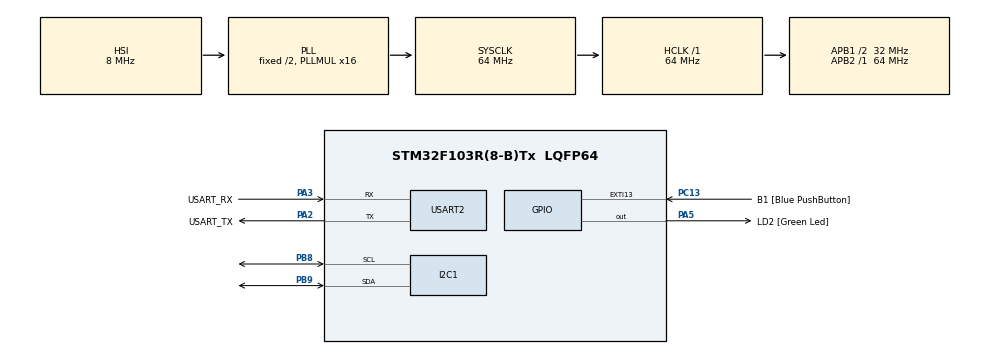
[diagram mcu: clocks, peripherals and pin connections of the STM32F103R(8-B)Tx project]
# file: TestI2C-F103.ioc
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I2C1.OwnAddress=4
Mcu.Family=STM32F1
Mcu.Name=STM32F103R(8-B)Tx
Mcu.Package=LQFP64
NVIC.EXTI15_10_IRQn=true\:0\:0\:false\:false\:true\:true\:true
NVIC.I2C1_ER_IRQn=true\:0\:0\:false\:false\:true\:true\:true
NVIC.I2C1_EV_IRQn=true\:0\:0\:false\:false\:true\:true\:true
NVIC.PriorityGroup=NVIC_PRIORITYGROUP_4
NVIC.USART2_IRQn=true\:0\:0\:false\:false\:true\:true\:true
PA13.GPIO_Label=TMS
PA13.Mode=Serial_Wire
PA13.Signal=SYS_JTMS-SWDIO
PA14.GPIO_Label=TCK
PA14.Mode=Serial_Wire
PA14.Signal=SYS_JTCK-SWCLK
PA2.GPIO_Label=USART_TX
PA2.GPIO_Mode=GPIO_MODE_AF_PP
PA2.GPIO_PuPd=GPIO_NOPULL
PA2.GPIO_Speed=GPIO_SPEED_FREQ_HIGH
PA2.Mode=Asynchronous
PA2.Signal=USART2_TX
PA3.GPIO_Label=USART_RX
PA3.GPIO_Mode=GPIO_MODE_AF_PP
PA3.GPIO_PuPd=GPIO_NOPULL
PA3.GPIO_Speed=GPIO_SPEED_FREQ_LOW
PA3.Mode=Asynchronous
PA3.Signal=USART2_RX
PA5.GPIO_Label=LD2 [Green Led]
PA5.GPIO_ModeDefaultOutputPP=GPIO_MODE_OUTPUT_PP
PA5.GPIO_PuPd=GPIO_NOPULL
PA5.GPIO_Speed=GPIO_SPEED_FREQ_LOW
PA5.Signal=GPIO_Output
PB3.GPIO_Label=SWO
PB3.Signal=SYS_JTDO-TRACESWO
PB8.Mode=I2C
PB8.Signal=I2C1_SCL
PB9.Mode=I2C
PB9.Signal=I2C1_SDA
PC13-TAMPER-RTC.GPIO_Label=B1 [Blue PushButton]
PC13-TAMPER-RTC.GPIO_PuPd=GPIO_NOPULL
PC13-TAMPER-RTC.Signal=GPXTI13
PC14-OSC32_IN.Mode=LSE-External-Oscillator
PC14-OSC32_IN.Signal=RCC_OSC32_IN
PC15-OSC32_OUT.Mode=LSE-External-Oscillator
PC15-OSC32_OUT.Signal=RCC_OSC32_OUT
PD0-OSC_IN.Mode=HSE-External-Clock-Source
PD0-OSC_IN.Signal=RCC_OSC_IN
PD1-OSC_OUT.Mode=HSE-External-Clock-Source
PD1-OSC_OUT.Signal=RCC_OSC_OUT
ProjectManager.HeapSize=0x200
ProjectManager.StackSize=0x400
ProjectManager.TargetToolchain=STM32CubeIDE
RCC.AHBFreq_Value=64000000
RCC.APB1CLKDivider=RCC_HCLK_DIV2
RCC.APB1Freq_Value=32000000
RCC.APB1TimFreq_Value=64000000
RCC.APB2Freq_Value=64000000
RCC.APB2TimFreq_Value=64000000
RCC.HCLKFreq_Value=64000000
RCC.PLLMUL=RCC_PLL_MUL16
RCC.RTCClockSelection=RCC_RTCCLKSOURCE_LSE
RCC.SYSCLKFreq_VALUE=64000000
RCC.SYSCLKSource=RCC_SYSCLKSOURCE_PLLCLK
RCC.USBFreq_Value=64000000
USART2.VirtualMode=VM_ASYNC
board=NUCLEO-F103RB

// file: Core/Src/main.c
/* USER CODE BEGIN Header */
/**
  ******************************************************************************
  * @file           : main.c
  * @brief          : Main program body
  ******************************************************************************
  * @attention
  *
  * <h2><center>&copy; Copyright (c) 2021 STMicroelectronics.
  * All rights reserved.</center></h2>
  *
  * This software component is licensed by ST under BSD 3-Clause license,
  * the "License"; You may not use this file except in compliance with the
  * License. You may obtain a copy of the License at:
  *                        opensource.org/licenses/BSD-3-Clause
  *
  ******************************************************************************
  */
/* USER CODE END Header */
#include "main.h"

I2C_HandleTypeDef hi2c1;

UART_HandleTypeDef huart2;

void SystemClock_Config(void);
static void MX_GPIO_Init(void);
static void MX_USART2_UART_Init(void);
static void MX_I2C1_Init(void);

/* USER CODE BEGIN 0 */
uint8_t dataRX[128];
uint8_t dataTX[]="kJgVvvYxx4ndpO43hCd0BN15vwcj717HBTOZpfBLLUhNIOK8UMacaoua3kAi46AOZaOXa09Kxe8zthJCkS2hvmhG4t96Uhsg9yC0";
uint8_t data[16];
uint8_t tcp=0;
uint8_t usartRX=0;
/* USER CODE END 0 */

int main(void)
{

  /* MCU Configuration--------------------------------------------------------*/

  /* Reset of all peripherals, Initializes the Flash interface and the Systick. */
  HAL_Init();

  /* Configure the system clock */
  SystemClock_Config();

  /* Initialize all configured peripherals */
  MX_GPIO_Init();
  MX_USART2_UART_Init();
  MX_I2C1_Init();
  /* USER CODE BEGIN 2 */

#ifdef RXTEST
  HAL_I2C_Slave_Receive_IT(&hi2c1, dataRX, 100);
#else
  HAL_I2C_Slave_Transmit_IT(&hi2c1, dataTX, 100);
#endif
  HAL_UART_Receive_IT(&huart2, data, 1);

  /* USER CODE END 2 */

  /* Infinite loop */
  /* USER CODE BEGIN WHILE */
  while (1)
  {

      if(tcp == 1)
	 	  {

	 		  tcp = 0;
#ifdef RXTEST
	 		  HAL_I2C_Slave_Receive_IT(&hi2c1, dataRX, 100);
#else
	 		 HAL_I2C_Slave_Transmit_IT(&hi2c1, dataTX, 128);
#endif
	 	  }

	  if(usartRX !=0)
	  {
		  HAL_Delay(1);
		  if(HAL_UART_Transmit(&huart2, dataTX, usartRX, 200) != HAL_OK)
		  {
			  while(1);
		  }

		  usartRX = 0;
	  }

    /* USER CODE END WHILE */

  }
}

void SystemClock_Config(void)
{
  RCC_OscInitTypeDef RCC_OscInitStruct = {0};
  RCC_ClkInitTypeDef RCC_ClkInitStruct = {0};

  /** Initializes the RCC Oscillators according to the specified parameters
  * in the RCC_OscInitTypeDef structure.
  */
  RCC_OscInitStruct.OscillatorType = RCC_OSCILLATORTYPE_HSI;
  RCC_OscInitStruct.HSIState = RCC_HSI_ON;
  RCC_OscInitStruct.HSICalibrationValue = RCC_HSICALIBRATION_DEFAULT;
  RCC_OscInitStruct.PLL.PLLState = RCC_PLL_ON;
  RCC_OscInitStruct.PLL.PLLSource = RCC_PLLSOURCE_HSI_DIV2;
  RCC_OscInitStruct.PLL.PLLMUL = RCC_PLL_MUL16;
  if (HAL_RCC_OscConfig(&RCC_OscInitStruct) != HAL_OK)
  {
    Error_Handler();
  }
  /** Initializes the CPU, AHB and APB buses clocks
  */
  RCC_ClkInitStruct.ClockType = RCC_CLOCKTYPE_HCLK|RCC_CLOCKTYPE_SYSCLK
                              |RCC_CLOCKTYPE_PCLK1|RCC_CLOCKTYPE_PCLK2;
  RCC_ClkInitStruct.SYSCLKSource = RCC_SYSCLKSOURCE_PLLCLK;
  RCC_ClkInitStruct.AHBCLKDivider = RCC_SYSCLK_DIV1;
  RCC_ClkInitStruct.APB1CLKDivider = RCC_HCLK_DIV2;
  RCC_ClkInitStruct.APB2CLKDivider = RCC_HCLK_DIV1;

  if (HAL_RCC_ClockConfig(&RCC_ClkInitStruct, FLASH_LATENCY_2) != HAL_OK)
  {
    Error_Handler();
  }
}

static void MX_I2C1_Init(void)
{

  hi2c1.Instance = I2C1;
  hi2c1.Init.ClockSpeed = 100000;
  hi2c1.Init.DutyCycle = I2C_DUTYCYCLE_2;
  hi2c1.Init.OwnAddress1 = 8;
  hi2c1.Init.AddressingMode = I2C_ADDRESSINGMODE_7BIT;
  hi2c1.Init.DualAddressMode = I2C_DUALADDRESS_DISABLE;
  hi2c1.Init.OwnAddress2 = 0;
  hi2c1.Init.GeneralCallMode = I2C_GENERALCALL_DISABLE;
  hi2c1.Init.NoStretchMode = I2C_NOSTRETCH_DISABLE;
  if (HAL_I2C_Init(&hi2c1) != HAL_OK)
  {
    Error_Handler();
  }

}

static void MX_USART2_UART_Init(void)
{

  huart2.Instance = USART2;
  huart2.Init.BaudRate = 115200;
  huart2.Init.WordLength = UART_WORDLENGTH_8B;
  huart2.Init.StopBits = UART_STOPBITS_1;
  huart2.Init.Parity = UART_PARITY_NONE;
  huart2.Init.Mode = UART_MODE_TX_RX;
  huart2.Init.HwFlowCtl = UART_HWCONTROL_NONE;
  huart2.Init.OverSampling = UART_OVERSAMPLING_16;
  if (HAL_UART_Init(&huart2) != HAL_OK)
  {
    Error_Handler();
  }

}

static void MX_GPIO_Init(void)
{
  GPIO_InitTypeDef GPIO_InitStruct = {0};

  /* GPIO Ports Clock Enable */
  __HAL_RCC_GPIOC_CLK_ENABLE();
  __HAL_RCC_GPIOD_CLK_ENABLE();
  __HAL_RCC_GPIOA_CLK_ENABLE();
  __HAL_RCC_GPIOB_CLK_ENABLE();

  /*Configure GPIO pin Output Level */
  HAL_GPIO_WritePin(LD2_GPIO_Port, LD2_Pin, GPIO_PIN_RESET);

  /*Configure GPIO pin : B1_Pin */
  GPIO_InitStruct.Pin = B1_Pin;
  GPIO_InitStruct.Mode = GPIO_MODE_IT_RISING;
  GPIO_InitStruct.Pull = GPIO_NOPULL;
  HAL_GPIO_Init(B1_GPIO_Port, &GPIO_InitStruct);

  /*Configure GPIO pin : LD2_Pin */
  GPIO_InitStruct.Pin = LD2_Pin;
  GPIO_InitStruct.Mode = GPIO_MODE_OUTPUT_PP;
  GPIO_InitStruct.Pull = GPIO_NOPULL;
  GPIO_InitStruct.Speed = GPIO_SPEED_FREQ_LOW;
  HAL_GPIO_Init(LD2_GPIO_Port, &GPIO_InitStruct);

  /* EXTI interrupt init*/
  HAL_NVIC_SetPriority(EXTI15_10_IRQn, 0, 0);
  HAL_NVIC_EnableIRQ(EXTI15_10_IRQn);

}

/* USER CODE BEGIN 4 */

/**
 * @brief
 * This is the callback for HAL interrupt of UART RX
 * This callback is shared among all UARTS, if more interrupts are used
 * user should implement the correct control flow and verification to maintain
 * Modbus functionality.
 * @ingroup UartHandle UART HAL handler
 */
void HAL_UART_RxCpltCallback(UART_HandleTypeDef *UartHandle)
{

	usartRX = data[0];
	HAL_UART_Receive_IT(&huart2, data, 1);

}

/* USER CODE END 4 */

void Error_Handler(void)
{
  __disable_irq();
  while (1)
  {
  }
}

/************************ (C) COPYRIGHT STMicroelectronics *****END OF FILE****/
